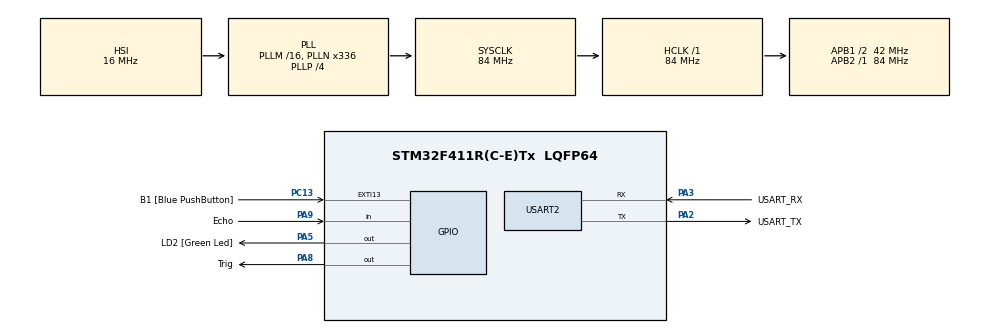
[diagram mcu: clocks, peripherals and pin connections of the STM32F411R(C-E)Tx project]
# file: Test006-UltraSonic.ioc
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Mcu.Family=STM32F4
Mcu.Name=STM32F411R(C-E)Tx
Mcu.Package=LQFP64
NVIC.PriorityGroup=NVIC_PRIORITYGROUP_0
PA13.GPIO_Label=TMS
PA13.Mode=Serial_Wire
PA13.Signal=SYS_JTMS-SWDIO
PA14.GPIO_Label=TCK
PA14.Mode=Serial_Wire
PA14.Signal=SYS_JTCK-SWCLK
PA2.GPIO_Label=USART_TX
PA2.Mode=Asynchronous
PA2.Signal=USART2_TX
PA3.GPIO_Label=USART_RX
PA3.Mode=Asynchronous
PA3.Signal=USART2_RX
PA5.GPIO_Label=LD2 [Green Led]
PA5.Signal=GPIO_Output
PA8.GPIO_Label=Trig
PA8.Signal=GPIO_Output
PA9.GPIO_Label=Echo
PA9.Signal=GPIO_Input
PB3.GPIO_Label=SWO
PB3.Signal=SYS_JTDO-SWO
PC13-ANTI_TAMP.GPIO_Label=B1 [Blue PushButton]
PC13-ANTI_TAMP.GPIO_ModeDefaultEXTI=GPIO_MODE_IT_FALLING
PC13-ANTI_TAMP.Signal=GPXTI13
PC14-OSC32_IN.Mode=LSE-External-Oscillator
PC14-OSC32_IN.Signal=RCC_OSC32_IN
PC15-OSC32_OUT.Mode=LSE-External-Oscillator
PC15-OSC32_OUT.Signal=RCC_OSC32_OUT
PH0\ -\ OSC_IN.Mode=HSE-External-Clock-Source
PH0\ -\ OSC_IN.Signal=RCC_OSC_IN
PH1\ -\ OSC_OUT.Mode=HSE-External-Clock-Source
PH1\ -\ OSC_OUT.Signal=RCC_OSC_OUT
ProjectManager.HeapSize=0x200
ProjectManager.StackSize=0x400
ProjectManager.TargetToolchain=STM32CubeIDE
RCC.48MHZClocksFreq_Value=84000000
RCC.AHBFreq_Value=84000000
RCC.APB1CLKDivider=RCC_HCLK_DIV2
RCC.APB1Freq_Value=42000000
RCC.APB1TimFreq_Value=84000000
RCC.APB2Freq_Value=84000000
RCC.APB2TimFreq_Value=84000000
RCC.CortexFreq_Value=84000000
RCC.FLatency-AdvancedSettings=FLASH_LATENCY_2
RCC.HCLKFreq_Value=84000000
RCC.HSE_VALUE=8000000
RCC.HSI_VALUE=16000000
RCC.PLLN=336
RCC.PLLP=RCC_PLLP_DIV4
RCC.SYSCLKFreq_VALUE=84000000
RCC.SYSCLKSource=RCC_SYSCLKSOURCE_PLLCLK
RCC.VCOOutputFreq_Value=336000000
TIM2.Prescaler=84 - 1
USART2.VirtualMode=VM_ASYNC
VP_TIM2_VS_ClockSourceINT.Mode=Internal
board=NUCLEO-F411RE

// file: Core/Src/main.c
/* USER CODE BEGIN Header */
/**
  ******************************************************************************
  * @file           : main.c
  * @brief          : Main program body
  ******************************************************************************
  * @attention
  *
  * Copyright (c) 2025 STMicroelectronics.
  * All rights reserved.
  *
  * This software is licensed under terms that can be found in the LICENSE file
  * in the root directory of this software component.
  * If no LICENSE file comes with this software, it is provided AS-IS.
  *
  ******************************************************************************
  */
/* USER CODE END Header */
#include "main.h"

/* USER CODE BEGIN Includes */
#include <stdio.h>

/* USER CODE END Includes */

TIM_HandleTypeDef htim2;

UART_HandleTypeDef huart2;

void SystemClock_Config(void);
static void MX_GPIO_Init(void);
static void MX_USART2_UART_Init(void);
static void MX_TIM2_Init(void);

/* USER CODE BEGIN 0 */

void Micro_Delay(int us)// us : micro-sec (10^-6)
{
	// Reference Time - Time flow Check
	/*
	int t1 = htim2.Instance->CNT; // TIM2 counter register

	while( htim2.Instance->CNT < (t1 + us) );
	// while( !(htim2.Instance->CNT- t1 > us) );
	/*
	while (1)
	{
		if (htim2.Instance->CNT > (t1 + us) ) break;
	}
	*/

	// Consider Overflow Case
	htim2.Instance->CNT = 0;
	while( htim2.Instance->CNT < us );
}

void Trigger()
{
	// *** Trigger Pulse Gen. *** //
	// HAL_GPIO_WritePin(Pin Group, Pin#, Pin State(H/L));
	HAL_GPIO_WritePin(Trig_GPIO_Port, Trig_Pin, 0); // Initial Reset
	Micro_Delay(10); // 10us Delay
	// void Micro_Delay(int us)

	HAL_GPIO_WritePin(Trig_GPIO_Port, Trig_Pin, 1); // Trigger Pulse High
	Micro_Delay(10); // 10us Delay

	HAL_GPIO_WritePin(Trig_GPIO_Port, Trig_Pin, 0); // Reset
	// *** Trigger Pulse Gen. *** //
}

double Distance()
{
	  Trigger(); // Trigger Pulse Gen.

	  // *** Sensing Echo Signal *** //

	  // Time-out Criteria :  5m <-> 29,411 us
	  int Time_REF, Time_RX;
	  htim2.Instance->CNT = 0;

	  // Wait until Echo Signal becomes High or Time-out
	  while(1)
	  {
		  // Check Time-out
		  if (htim2.Instance->CNT > 30000 ) return -1;

		  if ( HAL_GPIO_ReadPin(Echo_GPIO_Port, Echo_Pin) == 1 ) break;
	  }
	  Time_REF = htim2.Instance->CNT;

	  // Wait until Echo Signal becomes Low or Time-out
	  while(1)
	  {
		  // Check Time-out
		  if (htim2.Instance->CNT > Time_REF + 30000 ) return -1;

		  if ( HAL_GPIO_ReadPin(Echo_GPIO_Port, Echo_Pin) == 0 ) break;
	  }
	  Time_RX = htim2.Instance->CNT;
	  // *** Sensing Echo Signal *** //

	  // *** Calculation of Distance *** //
	  double dist = (Time_RX - Time_REF) * 0.17; // mm Scale
	  // dist = (Time_RX - Time_REF) / 2 * (1e-6) * 340 * 1e+3;
	  // Time_RX - Time_REF : Round-trip Time [us]
	  // Ultra-sonic Speed : 340 [m/s]
	  // 1e+3 : m -> mm
	  // *** Calculation of Distance *** //

	  return dist;
}

/* USER CODE END 0 */

int main(void)
{

  /* MCU Configuration--------------------------------------------------------*/

  /* Reset of all peripherals, Initializes the Flash interface and the Systick. */
  HAL_Init();

  /* Configure the system clock */
  SystemClock_Config();

  /* Initialize all configured peripherals */
  MX_GPIO_Init();
  MX_USART2_UART_Init();
  MX_TIM2_Init();
  /* USER CODE BEGIN 2 */
  ProgramStart("Ultra-Sonic Sensor - SRF05");
  HAL_TIM_Base_Start(&htim2); // Start Timer 2 Function

  /* USER CODE END 2 */

  /* Infinite loop */
  /* USER CODE BEGIN WHILE */
  while (1)
  {
	  double dist = Distance();
	  printf( "Distance : %f \r\n", dist);
	  HAL_Delay(500); // Interval 500 ms

    /* USER CODE END WHILE */

    /* USER CODE BEGIN 3 */
  } /* Infinite loop */
  /* USER CODE END 3 */
} // int main(void)

void SystemClock_Config(void)
{
  RCC_OscInitTypeDef RCC_OscInitStruct = {0};
  RCC_ClkInitTypeDef RCC_ClkInitStruct = {0};

  /** Configure the main internal regulator output voltage
  */
  __HAL_RCC_PWR_CLK_ENABLE();
  __HAL_PWR_VOLTAGESCALING_CONFIG(PWR_REGULATOR_VOLTAGE_SCALE1);

  /** Initializes the RCC Oscillators according to the specified parameters
  * in the RCC_OscInitTypeDef structure.
  */
  RCC_OscInitStruct.OscillatorType = RCC_OSCILLATORTYPE_HSI;
  RCC_OscInitStruct.HSIState = RCC_HSI_ON;
  RCC_OscInitStruct.HSICalibrationValue = RCC_HSICALIBRATION_DEFAULT;
  RCC_OscInitStruct.PLL.PLLState = RCC_PLL_ON;
  RCC_OscInitStruct.PLL.PLLSource = RCC_PLLSOURCE_HSI;
  RCC_OscInitStruct.PLL.PLLM = 16;
  RCC_OscInitStruct.PLL.PLLN = 336;
  RCC_OscInitStruct.PLL.PLLP = RCC_PLLP_DIV4;
  RCC_OscInitStruct.PLL.PLLQ = 4;
  if (HAL_RCC_OscConfig(&RCC_OscInitStruct) != HAL_OK)
  {
    Error_Handler();
  }

  /** Initializes the CPU, AHB and APB buses clocks
  */
  RCC_ClkInitStruct.ClockType = RCC_CLOCKTYPE_HCLK|RCC_CLOCKTYPE_SYSCLK
                              |RCC_CLOCKTYPE_PCLK1|RCC_CLOCKTYPE_PCLK2;
  RCC_ClkInitStruct.SYSCLKSource = RCC_SYSCLKSOURCE_PLLCLK;
  RCC_ClkInitStruct.AHBCLKDivider = RCC_SYSCLK_DIV1;
  RCC_ClkInitStruct.APB1CLKDivider = RCC_HCLK_DIV2;
  RCC_ClkInitStruct.APB2CLKDivider = RCC_HCLK_DIV1;

  if (HAL_RCC_ClockConfig(&RCC_ClkInitStruct, FLASH_LATENCY_2) != HAL_OK)
  {
    Error_Handler();
  }
}

static void MX_TIM2_Init(void)
{

  TIM_ClockConfigTypeDef sClockSourceConfig = {0};
  TIM_MasterConfigTypeDef sMasterConfig = {0};

  htim2.Instance = TIM2;
  htim2.Init.Prescaler = 84 - 1;
  htim2.Init.CounterMode = TIM_COUNTERMODE_UP;
  htim2.Init.Period = 4294967295;
  htim2.Init.ClockDivision = TIM_CLOCKDIVISION_DIV1;
  htim2.Init.AutoReloadPreload = TIM_AUTORELOAD_PRELOAD_DISABLE;
  if (HAL_TIM_Base_Init(&htim2) != HAL_OK)
  {
    Error_Handler();
  }
  sClockSourceConfig.ClockSource = TIM_CLOCKSOURCE_INTERNAL;
  if (HAL_TIM_ConfigClockSource(&htim2, &sClockSourceConfig) != HAL_OK)
  {
    Error_Handler();
  }
  sMasterConfig.MasterOutputTrigger = TIM_TRGO_RESET;
  sMasterConfig.MasterSlaveMode = TIM_MASTERSLAVEMODE_DISABLE;
  if (HAL_TIMEx_MasterConfigSynchronization(&htim2, &sMasterConfig) != HAL_OK)
  {
    Error_Handler();
  }

}

static void MX_USART2_UART_Init(void)
{

  huart2.Instance = USART2;
  huart2.Init.BaudRate = 115200;
  huart2.Init.WordLength = UART_WORDLENGTH_8B;
  huart2.Init.StopBits = UART_STOPBITS_1;
  huart2.Init.Parity = UART_PARITY_NONE;
  huart2.Init.Mode = UART_MODE_TX_RX;
  huart2.Init.HwFlowCtl = UART_HWCONTROL_NONE;
  huart2.Init.OverSampling = UART_OVERSAMPLING_16;
  if (HAL_UART_Init(&huart2) != HAL_OK)
  {
    Error_Handler();
  }

}

static void MX_GPIO_Init(void)
{
  GPIO_InitTypeDef GPIO_InitStruct = {0};

  /* GPIO Ports Clock Enable */
  __HAL_RCC_GPIOC_CLK_ENABLE();
  __HAL_RCC_GPIOH_CLK_ENABLE();
  __HAL_RCC_GPIOA_CLK_ENABLE();
  __HAL_RCC_GPIOB_CLK_ENABLE();

  /*Configure GPIO pin Output Level */
  HAL_GPIO_WritePin(GPIOA, LD2_Pin|Trig_Pin, GPIO_PIN_RESET);

  /*Configure GPIO pin : B1_Pin */
  GPIO_InitStruct.Pin = B1_Pin;
  GPIO_InitStruct.Mode = GPIO_MODE_IT_FALLING;
  GPIO_InitStruct.Pull = GPIO_NOPULL;
  HAL_GPIO_Init(B1_GPIO_Port, &GPIO_InitStruct);

  /*Configure GPIO pins : LD2_Pin Trig_Pin */
  GPIO_InitStruct.Pin = LD2_Pin|Trig_Pin;
  GPIO_InitStruct.Mode = GPIO_MODE_OUTPUT_PP;
  GPIO_InitStruct.Pull = GPIO_NOPULL;
  GPIO_InitStruct.Speed = GPIO_SPEED_FREQ_LOW;
  HAL_GPIO_Init(GPIOA, &GPIO_InitStruct);

  /*Configure GPIO pin : Echo_Pin */
  GPIO_InitStruct.Pin = Echo_Pin;
  GPIO_InitStruct.Mode = GPIO_MODE_INPUT;
  GPIO_InitStruct.Pull = GPIO_NOPULL;
  HAL_GPIO_Init(Echo_GPIO_Port, &GPIO_InitStruct);

}

void Error_Handler(void)
{
  __disable_irq();
  while (1)
  {
  }
}
